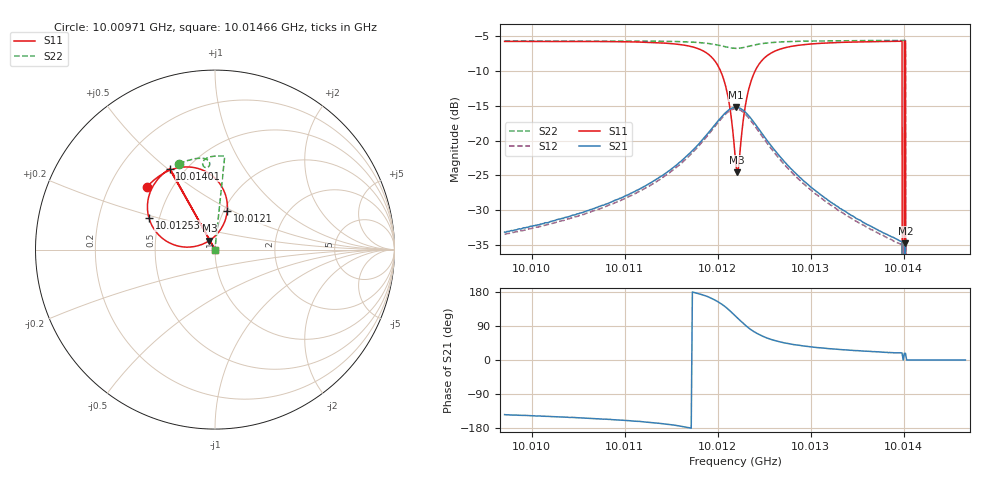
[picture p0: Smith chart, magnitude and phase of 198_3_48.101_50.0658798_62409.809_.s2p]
#  HZ  S  RI  R  50.00
! Rohde & Schwarz Vector Network Analyzer
! Rohde-Schwarz,ZNB20-2Port,1311601062101988,3.16
! Created: UTC 12/23/2023, 3:54:28 AM
! freq[Hz]  re:S11  im:S11  re:S21  im:S21  re:S12  im:S12  re:S22  im:S22
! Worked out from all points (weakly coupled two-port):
!   401 points, 10.00971 GHz to 10.01466 GHz, reference 50 ohm
!   highest |S21| = -15.22 dB at 10.0122 GHz (marker M1); lowest = -34.7 dB at 10.01402 GHz (marker M2)
!   lowest |S11| = -24.6 dB at 10.01221 GHz (marker M3), VSWR 1.13, Z = 46.7 + j4.7 ohm
!   |S11| at or under -10 dB: 10.01203 GHz to 10.0124 GHz (372 kHz wide, 0.00372 % of centre); 10.01398 GHz to 10.01401 GHz (24.23 kHz wide, 0.000242 % of centre); 10.01402 GHz to end of sweep
!   |S22| runs from - to -5.6 dB; largest |S21 - S12| = 0.0085
!   S11 on the Smith chart (normalised r, x): 10.00971 GHz: 0.36, +0.34; 10.0121 GHz: 1.04, +0.47; 10.01253 GHz: 0.44, +0.18; 10.01401 GHz: 0.41, +0.51; 10.01466 GHz: 1.00, +0.00
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1.0009708e10  -0.3813 0.3468  -0.0178 -0.0129  -0.0166 -0.0132  -0.1993 0.4784
1.0010538e10  -0.326 0.3987  -0.027 -0.0138  -0.0254 -0.0145  -0.147 0.4976
1.0011368e10  -0.2226 0.4518  -0.0529 -0.0122  -0.05 -0.0144  -0.0875 0.5092
1.0011888e10  -0.0283 0.421  -0.1087 0.024  -0.1065 0.0178  -0.0389 0.4974
1.0012012e10  0.0477 0.3318  -0.1243 0.0658  -0.1245 0.0576  -0.0297 0.4824
1.0012099e10  0.068 0.2137  -0.1181 0.1107  -0.1203 0.1027  -0.0314 0.4677
1.0012185e10  0.00405 0.079  -0.0788 0.1541  -0.0835 0.147  -0.0443 0.4573
1.0012198e10  -0.0125 0.0639  -0.0711 0.1581  -0.0758 0.151  -0.0467 0.4568
1.001221e10  -0.0315 0.0501  -0.0625 0.1612  -0.0675 0.1544  -0.0493 0.4569
1.0012297e10  -0.1775 0.015  -0.0048 0.1598  -0.00952 0.1543  -0.0641 0.4647
1.0012346e10  -0.2494 0.0354  0.0206 0.1456  0.0147 0.1408  -0.0681 0.4729
1.0012532e10  -0.3678 0.1759  0.0534 0.0845  0.0477 0.0824  -0.0606 0.4986
1.0013015e10  -0.3445 0.355  0.0375 0.0257  0.0346 0.0262  -0.0184 0.5183
1.0013845e10  -0.2653 0.4417  0.0195 0.00702  0.0182 0.00763  0.0423 0.5212
1.0013957e10  -0.2561 0.4483  0.018 0.00612  0.0169 0.00669  0.05 0.5208
1.0013969e10  -0.2552 0.4491  0.0179 0.00613  0.0167 0.0066  0.0509 0.5207
1.0013994e10  0 0  0 0  0 0  0.0525 0.5206
1.0014006e10  -0.2522 0.4511  0.0175 0.00565  0.0163 0.00645  0.0535 0.5205
1.0014019e10  -0.2511 0.4517  0.0175 0.00549  0.0163 0.00628  0.0543 0.5206
1.0014031e10  0 0  0 0  0 0  0 0
1.0014056e10  0 0  0 0  0 0  0 0
1.0014663e10  0 0  0 0  0 0  0 0
